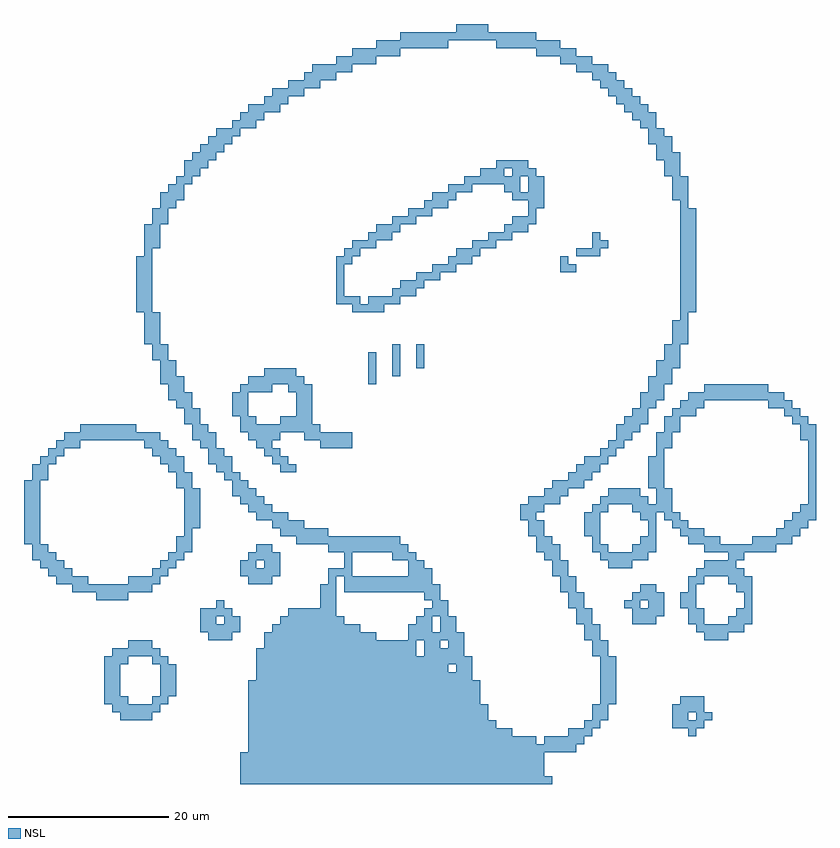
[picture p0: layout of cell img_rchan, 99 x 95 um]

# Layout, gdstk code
import gdstk
lib = gdstk.Library(unit=1e-6, precision=1e-09)
def R(c, l, rs):  # rectangles x0, y0, x1, y1
    for r in rs: c.add(gdstk.rectangle(r[:2], r[2:], *l))
def A(c, l, x, y, w, h, nx, ny, dx, dy):  # array of equal rectangles
    R(c, l, [(x+i*dx, y+j*dy, x+i*dx+w, y+j*dy+h) for i in range(nx) for j in range(ny)])
NSL = (8, 0)

img_rchan = lib.new_cell('img_rchan')
A(img_rchan, NSL, 27, -99, 38, 1, 1, 3, 0, 1)
A(img_rchan, NSL, 28, -90, 29, 1, 1, 3, 0, 1)
A(img_rchan, NSL, 72, -90, 2, 1, 1, 6, 0, 1)
A(img_rchan, NSL, 10, -89, 2, 1, 1, 4, 0, 1)
A(img_rchan, NSL, 17, -89, 2, 1, 1, 4, 0, 1)
A(img_rchan, NSL, 37, -78, 2, 1, 1, 3, 0, 1)
A(img_rchan, NSL, 30, -73, 2, 1, 3, 1, 18, 0)
A(img_rchan, NSL, 0, -70, 2, 1, 1, 8, 0, 1)
A(img_rchan, NSL, 70, -69, 2, 1, 1, 3, 0, 1)
A(img_rchan, NSL, 20, -68, 2, 1, 1, 5, 0, 1)
A(img_rchan, NSL, 98, -65, 1, 1, 1, 8, 0, 1)
A(img_rchan, NSL, 78, -63, 2, 1, 1, 4, 0, 1)
A(img_rchan, NSL, 26, -54, 2, 1, 1, 3, 0, 1)
A(img_rchan, NSL, 34, -54, 2, 1, 1, 3, 0, 1)
A(img_rchan, NSL, 43, -48, 1, 1, 3, 2, 3, 1)
A(img_rchan, NSL, 15, -45, 2, 1, 1, 4, 0, 1)
A(img_rchan, NSL, 81, -45, 2, 1, 1, 3, 0, 1)
A(img_rchan, NSL, 14, -41, 2, 1, 1, 7, 0, 1)
A(img_rchan, NSL, 82, -41, 2, 1, 1, 13, 0, 1)
A(img_rchan, NSL, 39, -39, 1, 1, 1, 4, 0, 1)
A(img_rchan, NSL, 15, -33, 2, 1, 1, 3, 0, 1)
A(img_rchan, NSL, 81, -27, 2, 1, 1, 3, 0, 1)
R(img_rchan, NSL, [(27,-100,66,-99), (28,-96,69,-95), (28,-95,64,-94), (65,-95,70,-94), (28,-94,61,-93), (68,-94,71,-93), (83,-94,84,-93), (28,-93,59,-92), (70,-93,72,-92), (81,-93,85,-92), (12,-92,16,-91), (28,-92,58,-91), (71,-92,73,-91), (81,-92,83,-91), (84,-92,86,-91), (11,-91,17,-90), (28,-91,58,-90), (71,-91,73,-90), (81,-91,85,-90), (10,-90,13,-89), (16,-90,18,-89), (82,-90,85,-89), (29,-87,56,-86), (29,-86,53,-85), (54,-86,56,-85), (10,-85,13,-84), (16,-85,18,-84), (29,-85,56,-84), (11,-84,17,-83), (29,-84,49,-83), (50,-84,55,-83), (71,-84,73,-83), (13,-83,16,-82), (30,-83,49,-82), (50,-83,52,-82), (53,-83,55,-82), (71,-83,73,-82), (23,-82,26,-81), (30,-82,44,-81), (48,-82,55,-81), (70,-82,72,-81), (85,-82,88,-81), (22,-81,27,-80), (31,-81,42,-80), (48,-81,51,-80), (52,-81,54,-80), (70,-81,72,-80), (84,-81,90,-80), (22,-80,24,-79), (25,-80,27,-79), (32,-80,40,-79), (49,-80,51,-79), (52,-80,54,-79), (69,-80,71,-79), (76,-80,79,-79), (83,-80,85,-79), (88,-80,91,-79), (22,-79,26,-78), (33,-79,39,-78), (50,-79,53,-78), (69,-79,71,-78), (76,-79,80,-78), (83,-79,85,-78), (89,-79,91,-78), (24,-78,25,-77), (51,-78,53,-77), (68,-78,70,-77), (75,-78,77,-77), (78,-78,80,-77), (82,-78,84,-77), (90,-78,91,-77), (9,-77,13,-76), (50,-77,52,-76), (68,-77,70,-76), (76,-77,80,-76), (82,-77,84,-76), (90,-77,91,-76), (6,-76,16,-75), (40,-76,52,-75), (67,-76,69,-75), (77,-76,79,-75), (83,-76,84,-75), (89,-76,91,-75), (4,-75,8,-74), (13,-75,17,-74), (28,-75,31,-74), (38,-75,39,-74), (40,-75,51,-74), (67,-75,69,-74), (83,-75,85,-74), (88,-75,91,-74), (3,-74,6,-73), (16,-74,18,-73), (27,-74,32,-73), (38,-74,41,-73), (48,-74,51,-73), (66,-74,68,-73), (84,-74,90,-73), (2,-73,5,-72), (17,-73,19,-72), (27,-73,29,-72), (40,-73,41,-72), (73,-73,76,-72), (85,-73,89,-72), (1,-72,4,-71), (18,-72,20,-71), (28,-72,32,-71), (40,-72,41,-71), (46,-72,49,-71), (65,-72,67,-71), (72,-72,78,-71), (88,-72,90,-71), (1,-71,3,-70), (19,-71,21,-70), (29,-71,31,-70), (38,-71,48,-70), (64,-71,67,-70), (71,-71,73,-70), (76,-71,79,-70), (85,-71,94,-70), (19,-70,21,-69), (34,-70,47,-69), (64,-70,66,-69), (71,-70,72,-69), (77,-70,79,-69), (83,-70,87,-69), (91,-70,96,-69), (20,-69,21,-68), (32,-69,38,-68), (63,-69,65,-68), (78,-69,79,-68), (82,-69,85,-68), (94,-69,97,-68), (31,-68,35,-67), (63,-68,65,-67), (78,-68,79,-67), (81,-68,83,-67), (95,-68,98,-67), (29,-67,33,-66), (62,-67,64,-66), (77,-67,79,-66), (80,-67,82,-66), (96,-67,99,-66), (28,-66,31,-65), (62,-66,65,-65), (71,-66,73,-65), (76,-66,81,-65), (97,-66,99,-65), (27,-65,30,-64), (63,-65,67,-64), (72,-65,78,-64), (79,-65,81,-64), (26,-64,29,-63), (65,-64,68,-63), (73,-64,77,-63), (79,-64,81,-63), (19,-63,21,-62), (26,-63,28,-62), (66,-63,70,-62), (1,-62,3,-61), (19,-62,21,-61), (25,-62,27,-61), (68,-62,71,-61), (1,-61,3,-60), (18,-61,20,-60), (24,-61,26,-60), (32,-61,34,-60), (69,-61,72,-60), (2,-60,4,-59), (17,-60,20,-59), (23,-60,26,-59), (31,-60,33,-59), (70,-60,73,-59), (3,-59,5,-58), (16,-59,19,-58), (23,-59,25,-58), (30,-59,32,-58), (72,-59,74,-58), (79,-59,80,-58), (4,-58,7,-57), (15,-58,18,-57), (22,-58,24,-57), (29,-58,31,-57), (37,-58,41,-57), (73,-58,75,-57), (79,-58,81,-57), (5,-57,17,-56), (21,-57,24,-56), (28,-57,32,-56), (35,-57,41,-56), (74,-57,76,-56), (79,-57,81,-56), (97,-57,99,-56), (7,-56,14,-55), (21,-56,23,-55), (27,-56,37,-55), (74,-56,77,-55), (80,-56,82,-55), (97,-56,99,-55), (20,-55,22,-54), (27,-55,29,-54), (32,-55,36,-54), (75,-55,78,-54), (80,-55,82,-54), (96,-55,98,-54), (20,-54,22,-53), (76,-54,78,-53), (81,-54,84,-53), (95,-54,97,-53), (19,-53,21,-52), (77,-53,79,-52), (82,-53,85,-52), (93,-53,96,-52), (18,-52,21,-51), (77,-52,80,-51), (83,-52,95,-51), (18,-51,20,-50), (27,-51,31,-50), (33,-51,36,-50), (78,-51,80,-50), (85,-51,93,-50), (17,-50,20,-49), (28,-50,35,-49), (43,-50,44,-49), (78,-50,81,-49), (17,-49,19,-48), (30,-49,34,-48), (43,-49,44,-48), (46,-49,47,-48), (79,-49,81,-48), (17,-48,19,-47), (79,-48,82,-47), (16,-47,18,-46), (80,-47,82,-46), (16,-46,18,-45), (46,-46,47,-45), (49,-46,50,-45), (80,-46,82,-45), (82,-42,83,-41), (41,-41,45,-40), (39,-40,42,-39), (43,-40,47,-39), (46,-39,49,-38), (47,-38,50,-37), (49,-37,52,-36), (51,-36,54,-35), (67,-36,69,-35), (39,-35,41,-34), (53,-35,56,-34), (67,-35,68,-34), (15,-34,16,-33), (40,-34,42,-33), (54,-34,57,-33), (69,-34,72,-33), (41,-33,44,-32), (56,-33,59,-32), (71,-33,73,-32), (43,-32,46,-31), (58,-32,61,-31), (71,-32,72,-31), (44,-31,47,-30), (60,-31,63,-30), (16,-30,18,-29), (46,-30,49,-29), (61,-30,64,-29), (16,-29,18,-28), (48,-29,51,-28), (63,-29,64,-28), (17,-28,19,-27), (50,-28,53,-27), (63,-28,65,-27), (82,-28,83,-27), (17,-27,20,-26), (51,-27,54,-26), (61,-27,65,-26), (18,-26,20,-25), (53,-26,56,-25), (60,-26,62,-25), (63,-26,65,-25), (19,-25,21,-24), (55,-25,62,-24), (63,-25,65,-24), (20,-24,22,-23), (57,-24,60,-23), (61,-24,64,-23), (80,-24,82,-23), (20,-23,23,-22), (59,-23,63,-22), (80,-23,82,-22), (21,-22,24,-21), (79,-22,82,-21), (22,-21,25,-20), (79,-21,81,-20), (23,-20,26,-19), (78,-20,81,-19), (24,-19,27,-18), (78,-19,80,-18), (26,-18,29,-17), (77,-18,79,-17), (27,-17,30,-16), (76,-17,79,-16), (28,-16,32,-15), (75,-16,78,-15), (30,-15,33,-14), (74,-15,77,-14), (31,-14,35,-13), (73,-14,76,-13), (33,-13,37,-12), (72,-13,75,-12), (35,-12,39,-11), (71,-12,74,-11), (36,-11,41,-10), (69,-11,73,-10), (39,-10,44,-9), (67,-10,71,-9), (41,-9,47,-8), (64,-9,69,-8), (44,-8,53,-7), (59,-8,67,-7), (47,-7,64,-6), (54,-6,58,-5)])

lib.write_gds('img_rchan.gds')
